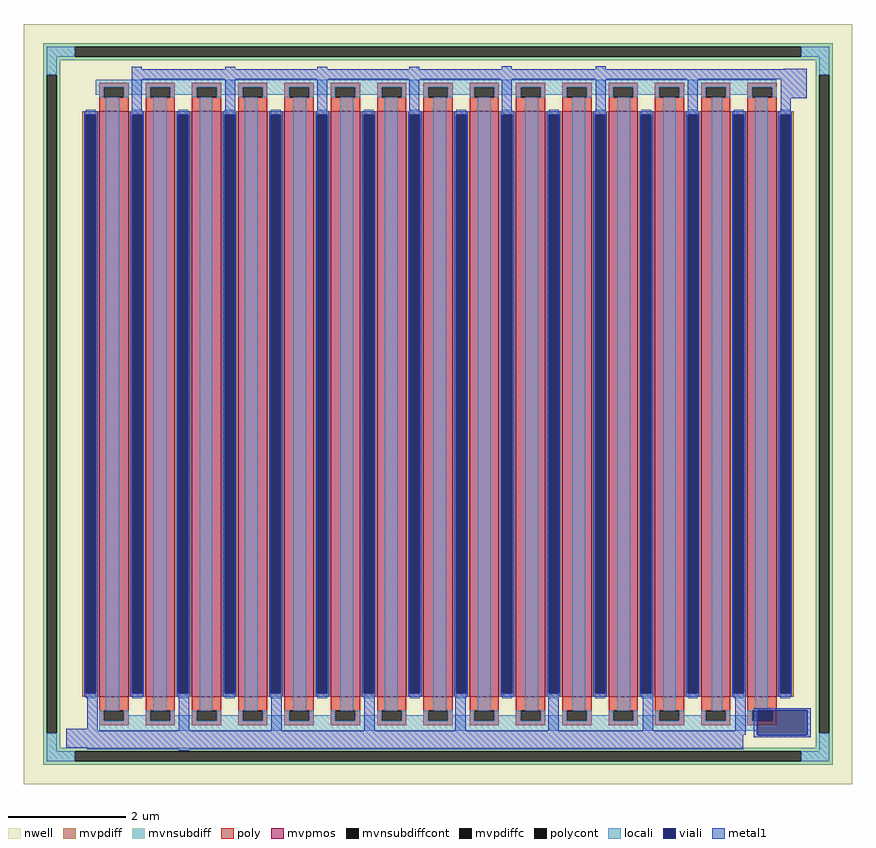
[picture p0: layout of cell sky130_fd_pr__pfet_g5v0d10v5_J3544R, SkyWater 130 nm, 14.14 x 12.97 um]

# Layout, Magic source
magic
tech sky130A
magscale 1 2
<< nwell >>
rect -1414 -1297 1414 1297
<< mvpmos >>
rect -1156 -1000 -1056 1000
rect -998 -1000 -898 1000
rect -840 -1000 -740 1000
rect -682 -1000 -582 1000
rect -524 -1000 -424 1000
rect -366 -1000 -266 1000
rect -208 -1000 -108 1000
rect -50 -1000 50 1000
rect 108 -1000 208 1000
rect 266 -1000 366 1000
rect 424 -1000 524 1000
rect 582 -1000 682 1000
rect 740 -1000 840 1000
rect 898 -1000 998 1000
rect 1056 -1000 1156 1000
<< mvpdiff >>
rect -1214 988 -1156 1000
rect -1214 -988 -1202 988
rect -1168 -988 -1156 988
rect -1214 -1000 -1156 -988
rect -1056 988 -998 1000
rect -1056 -988 -1044 988
rect -1010 -988 -998 988
rect -1056 -1000 -998 -988
rect -898 988 -840 1000
rect -898 -988 -886 988
rect -852 -988 -840 988
rect -898 -1000 -840 -988
rect -740 988 -682 1000
rect -740 -988 -728 988
rect -694 -988 -682 988
rect -740 -1000 -682 -988
rect -582 988 -524 1000
rect -582 -988 -570 988
rect -536 -988 -524 988
rect -582 -1000 -524 -988
rect -424 988 -366 1000
rect -424 -988 -412 988
rect -378 -988 -366 988
rect -424 -1000 -366 -988
rect -266 988 -208 1000
rect -266 -988 -254 988
rect -220 -988 -208 988
rect -266 -1000 -208 -988
rect -108 988 -50 1000
rect -108 -988 -96 988
rect -62 -988 -50 988
rect -108 -1000 -50 -988
rect 50 988 108 1000
rect 50 -988 62 988
rect 96 -988 108 988
rect 50 -1000 108 -988
rect 208 988 266 1000
rect 208 -988 220 988
rect 254 -988 266 988
rect 208 -1000 266 -988
rect 366 988 424 1000
rect 366 -988 378 988
rect 412 -988 424 988
rect 366 -1000 424 -988
rect 524 988 582 1000
rect 524 -988 536 988
rect 570 -988 582 988
rect 524 -1000 582 -988
rect 682 988 740 1000
rect 682 -988 694 988
rect 728 -988 740 988
rect 682 -1000 740 -988
rect 840 988 898 1000
rect 840 -988 852 988
rect 886 -988 898 988
rect 840 -1000 898 -988
rect 998 988 1056 1000
rect 998 -988 1010 988
rect 1044 -988 1056 988
rect 998 -1000 1056 -988
rect 1156 988 1214 1000
rect 1156 -988 1168 988
rect 1202 -988 1214 988
rect 1156 -1000 1214 -988
<< mvpdiffc >>
rect -1202 -988 -1168 988
rect -1044 -988 -1010 988
rect -886 -988 -852 988
rect -728 -988 -694 988
rect -570 -988 -536 988
rect -412 -988 -378 988
rect -254 -988 -220 988
rect -96 -988 -62 988
rect 62 -988 96 988
rect 220 -988 254 988
rect 378 -988 412 988
rect 536 -988 570 988
rect 694 -988 728 988
rect 852 -988 886 988
rect 1010 -988 1044 988
rect 1168 -988 1202 988
<< mvnsubdiff >>
rect -1348 1219 1348 1231
rect -1348 1185 -1240 1219
rect 1240 1185 1348 1219
rect -1348 1173 1348 1185
rect -1348 1123 -1290 1173
rect -1348 -1123 -1336 1123
rect -1302 -1123 -1290 1123
rect 1290 1123 1348 1173
rect -1348 -1173 -1290 -1123
rect 1290 -1123 1302 1123
rect 1336 -1123 1348 1123
rect 1290 -1173 1348 -1123
rect -1348 -1185 1348 -1173
rect -1348 -1219 -1240 -1185
rect 1240 -1219 1348 -1185
rect -1348 -1231 1348 -1219
<< mvnsubdiffcont >>
rect -1240 1185 1240 1219
rect -1336 -1123 -1302 1123
rect 1302 -1123 1336 1123
rect -1240 -1219 1240 -1185
<< poly >>
rect -1156 1081 -1056 1097
rect -1156 1047 -1140 1081
rect -1072 1047 -1056 1081
rect -1156 1000 -1056 1047
rect -998 1081 -898 1097
rect -998 1047 -982 1081
rect -914 1047 -898 1081
rect -998 1000 -898 1047
rect -840 1081 -740 1097
rect -840 1047 -824 1081
rect -756 1047 -740 1081
rect -840 1000 -740 1047
rect -682 1081 -582 1097
rect -682 1047 -666 1081
rect -598 1047 -582 1081
rect -682 1000 -582 1047
rect -524 1081 -424 1097
rect -524 1047 -508 1081
rect -440 1047 -424 1081
rect -524 1000 -424 1047
rect -366 1081 -266 1097
rect -366 1047 -350 1081
rect -282 1047 -266 1081
rect -366 1000 -266 1047
rect -208 1081 -108 1097
rect -208 1047 -192 1081
rect -124 1047 -108 1081
rect -208 1000 -108 1047
rect -50 1081 50 1097
rect -50 1047 -34 1081
rect 34 1047 50 1081
rect -50 1000 50 1047
rect 108 1081 208 1097
rect 108 1047 124 1081
rect 192 1047 208 1081
rect 108 1000 208 1047
rect 266 1081 366 1097
rect 266 1047 282 1081
rect 350 1047 366 1081
rect 266 1000 366 1047
rect 424 1081 524 1097
rect 424 1047 440 1081
rect 508 1047 524 1081
rect 424 1000 524 1047
rect 582 1081 682 1097
rect 582 1047 598 1081
rect 666 1047 682 1081
rect 582 1000 682 1047
rect 740 1081 840 1097
rect 740 1047 756 1081
rect 824 1047 840 1081
rect 740 1000 840 1047
rect 898 1081 998 1097
rect 898 1047 914 1081
rect 982 1047 998 1081
rect 898 1000 998 1047
rect 1056 1081 1156 1097
rect 1056 1047 1072 1081
rect 1140 1047 1156 1081
rect 1056 1000 1156 1047
rect -1156 -1047 -1056 -1000
rect -1156 -1081 -1140 -1047
rect -1072 -1081 -1056 -1047
rect -1156 -1097 -1056 -1081
rect -998 -1047 -898 -1000
rect -998 -1081 -982 -1047
rect -914 -1081 -898 -1047
rect -998 -1097 -898 -1081
rect -840 -1047 -740 -1000
rect -840 -1081 -824 -1047
rect -756 -1081 -740 -1047
rect -840 -1097 -740 -1081
rect -682 -1047 -582 -1000
rect -682 -1081 -666 -1047
rect -598 -1081 -582 -1047
rect -682 -1097 -582 -1081
rect -524 -1047 -424 -1000
rect -524 -1081 -508 -1047
rect -440 -1081 -424 -1047
rect -524 -1097 -424 -1081
rect -366 -1047 -266 -1000
rect -366 -1081 -350 -1047
rect -282 -1081 -266 -1047
rect -366 -1097 -266 -1081
rect -208 -1047 -108 -1000
rect -208 -1081 -192 -1047
rect -124 -1081 -108 -1047
rect -208 -1097 -108 -1081
rect -50 -1047 50 -1000
rect -50 -1081 -34 -1047
rect 34 -1081 50 -1047
rect -50 -1097 50 -1081
rect 108 -1047 208 -1000
rect 108 -1081 124 -1047
rect 192 -1081 208 -1047
rect 108 -1097 208 -1081
rect 266 -1047 366 -1000
rect 266 -1081 282 -1047
rect 350 -1081 366 -1047
rect 266 -1097 366 -1081
rect 424 -1047 524 -1000
rect 424 -1081 440 -1047
rect 508 -1081 524 -1047
rect 424 -1097 524 -1081
rect 582 -1047 682 -1000
rect 582 -1081 598 -1047
rect 666 -1081 682 -1047
rect 582 -1097 682 -1081
rect 740 -1047 840 -1000
rect 740 -1081 756 -1047
rect 824 -1081 840 -1047
rect 740 -1097 840 -1081
rect 898 -1047 998 -1000
rect 898 -1081 914 -1047
rect 982 -1081 998 -1047
rect 898 -1097 998 -1081
rect 1056 -1047 1156 -1000
rect 1056 -1081 1072 -1047
rect 1140 -1081 1156 -1047
rect 1056 -1097 1156 -1081
<< polycont >>
rect -1140 1047 -1072 1081
rect -982 1047 -914 1081
rect -824 1047 -756 1081
rect -666 1047 -598 1081
rect -508 1047 -440 1081
rect -350 1047 -282 1081
rect -192 1047 -124 1081
rect -34 1047 34 1081
rect 124 1047 192 1081
rect 282 1047 350 1081
rect 440 1047 508 1081
rect 598 1047 666 1081
rect 756 1047 824 1081
rect 914 1047 982 1081
rect 1072 1047 1140 1081
rect -1140 -1081 -1072 -1047
rect -982 -1081 -914 -1047
rect -824 -1081 -756 -1047
rect -666 -1081 -598 -1047
rect -508 -1081 -440 -1047
rect -350 -1081 -282 -1047
rect -192 -1081 -124 -1047
rect -34 -1081 34 -1047
rect 124 -1081 192 -1047
rect 282 -1081 350 -1047
rect 440 -1081 508 -1047
rect 598 -1081 666 -1047
rect 756 -1081 824 -1047
rect 914 -1081 982 -1047
rect 1072 -1081 1140 -1047
<< locali >>
rect -1336 1185 -1240 1219
rect 1240 1185 1336 1219
rect -1336 1123 -1302 1185
rect 1302 1123 1336 1185
rect -1168 1081 1154 1107
rect -1168 1055 -1140 1081
rect -1156 1047 -1140 1055
rect -1072 1055 -982 1081
rect -1072 1047 -1056 1055
rect -998 1047 -982 1055
rect -914 1055 -824 1081
rect -914 1047 -898 1055
rect -840 1047 -824 1055
rect -756 1055 -666 1081
rect -756 1047 -740 1055
rect -682 1047 -666 1055
rect -598 1055 -508 1081
rect -598 1047 -582 1055
rect -524 1047 -508 1055
rect -440 1055 -350 1081
rect -440 1047 -424 1055
rect -366 1047 -350 1055
rect -282 1055 -192 1081
rect -282 1047 -266 1055
rect -208 1047 -192 1055
rect -124 1055 -34 1081
rect -124 1047 -108 1055
rect -50 1047 -34 1055
rect 34 1055 124 1081
rect 34 1047 50 1055
rect 108 1047 124 1055
rect 192 1055 282 1081
rect 192 1047 208 1055
rect 266 1047 282 1055
rect 350 1055 440 1081
rect 350 1047 366 1055
rect 424 1047 440 1055
rect 508 1055 598 1081
rect 508 1047 524 1055
rect 582 1047 598 1055
rect 666 1055 756 1081
rect 666 1047 682 1055
rect 740 1047 756 1055
rect 824 1055 914 1081
rect 824 1047 840 1055
rect 898 1047 914 1055
rect 982 1055 1072 1081
rect 982 1047 998 1055
rect 1056 1047 1072 1055
rect 1140 1047 1156 1081
rect -1202 988 -1168 1004
rect -1202 -1004 -1168 -988
rect -1134 -1047 -1088 1047
rect -1044 988 -1010 1004
rect -1044 -1004 -1010 -988
rect -972 -1047 -926 1047
rect -886 988 -852 1004
rect -886 -1004 -852 -988
rect -814 -1047 -770 1047
rect -728 988 -694 1004
rect -728 -1004 -694 -988
rect -660 -1047 -616 1047
rect -570 988 -536 1004
rect -570 -1004 -536 -988
rect -494 -1047 -450 1047
rect -412 988 -378 1004
rect -412 -1004 -378 -988
rect -334 -1047 -290 1047
rect -254 988 -220 1004
rect -254 -1004 -220 -988
rect -182 -1047 -138 1047
rect -96 988 -62 1004
rect -96 -1004 -62 -988
rect -16 -1047 28 1047
rect 62 988 96 1004
rect 62 -1004 96 -988
rect 136 -1047 180 1047
rect 220 988 254 1004
rect 220 -1004 254 -988
rect 298 -1047 342 1047
rect 378 988 412 1004
rect 378 -1004 412 -988
rect 458 -1047 502 1047
rect 536 988 570 1004
rect 536 -1004 570 -988
rect 612 -1047 656 1047
rect 694 988 728 1004
rect 694 -1004 728 -988
rect 768 -1047 812 1047
rect 852 988 886 1004
rect 852 -1004 886 -988
rect 934 -1047 970 1047
rect 1010 988 1044 1004
rect 1010 -1004 1044 -988
rect 1082 -1045 1126 1047
rect 1168 988 1202 1004
rect 1168 -1004 1202 -988
rect 1082 -1047 1090 -1045
rect -1156 -1081 -1140 -1047
rect -1072 -1063 -1056 -1047
rect -998 -1063 -982 -1047
rect -1072 -1081 -982 -1063
rect -914 -1063 -898 -1047
rect -840 -1063 -824 -1047
rect -914 -1081 -824 -1063
rect -756 -1063 -740 -1047
rect -682 -1063 -666 -1047
rect -756 -1081 -666 -1063
rect -598 -1063 -582 -1047
rect -524 -1063 -508 -1047
rect -598 -1081 -508 -1063
rect -440 -1063 -424 -1047
rect -366 -1063 -350 -1047
rect -440 -1081 -350 -1063
rect -282 -1063 -266 -1047
rect -208 -1063 -192 -1047
rect -282 -1081 -192 -1063
rect -124 -1063 -108 -1047
rect -50 -1063 -34 -1047
rect -124 -1081 -34 -1063
rect 34 -1063 50 -1047
rect 108 -1063 124 -1047
rect 34 -1081 124 -1063
rect 192 -1063 208 -1047
rect 266 -1063 282 -1047
rect 192 -1081 282 -1063
rect 350 -1063 366 -1047
rect 424 -1063 440 -1047
rect 350 -1081 440 -1063
rect 508 -1063 524 -1047
rect 582 -1063 598 -1047
rect 508 -1081 598 -1063
rect 666 -1063 682 -1047
rect 740 -1063 756 -1047
rect 666 -1081 756 -1063
rect 824 -1063 840 -1047
rect 898 -1063 914 -1047
rect 824 -1081 914 -1063
rect 982 -1063 998 -1047
rect 1056 -1063 1072 -1047
rect 982 -1081 1072 -1063
rect -1156 -1115 1090 -1081
rect -1336 -1185 -1302 -1123
rect 1302 -1185 1336 -1123
rect -1336 -1219 -1240 -1185
rect 1240 -1219 1336 -1185
<< viali >>
rect -1202 -988 -1168 988
rect -1044 -988 -1010 988
rect -886 -988 -852 988
rect -728 -988 -694 988
rect -570 -988 -536 988
rect -412 -988 -378 988
rect -254 -988 -220 988
rect -96 -988 -62 988
rect 62 -988 96 988
rect 220 -988 254 988
rect 378 -988 412 988
rect 536 -988 570 988
rect 694 -988 728 988
rect 852 -988 886 988
rect 1010 -988 1044 988
rect 1168 -988 1202 988
rect 1090 -1047 1260 -1045
rect 1090 -1081 1140 -1047
rect 1140 -1081 1260 -1047
rect 1090 -1131 1260 -1081
<< metal1 >>
rect -1046 1143 -1012 1151
rect -726 1143 -692 1151
rect -412 1143 -378 1151
rect -98 1143 -64 1151
rect 218 1143 252 1153
rect 538 1143 572 1153
rect 1180 1143 1258 1145
rect -1046 1109 1258 1143
rect -1046 1000 -1012 1109
rect -726 1000 -692 1109
rect -412 1000 -378 1109
rect -98 1000 -64 1109
rect 218 1000 252 1109
rect 538 1000 572 1109
rect 852 1000 886 1109
rect 1170 1043 1258 1109
rect 1170 1000 1204 1043
rect -1208 988 -1162 1000
rect -1208 -988 -1202 988
rect -1168 -988 -1162 988
rect -1208 -1000 -1162 -988
rect -1050 988 -1004 1000
rect -1050 -988 -1044 988
rect -1010 -988 -1004 988
rect -1050 -1000 -1004 -988
rect -892 988 -846 1000
rect -892 -988 -886 988
rect -852 -988 -846 988
rect -892 -1000 -846 -988
rect -734 988 -688 1000
rect -734 -988 -728 988
rect -694 -988 -688 988
rect -734 -1000 -688 -988
rect -576 988 -530 1000
rect -576 -988 -570 988
rect -536 -988 -530 988
rect -576 -1000 -530 -988
rect -418 988 -372 1000
rect -418 -988 -412 988
rect -378 -988 -372 988
rect -418 -1000 -372 -988
rect -260 988 -214 1000
rect -260 -988 -254 988
rect -220 -988 -214 988
rect -260 -1000 -214 -988
rect -102 988 -56 1000
rect -102 -988 -96 988
rect -62 -988 -56 988
rect -102 -1000 -56 -988
rect 56 988 102 1000
rect 56 -988 62 988
rect 96 -988 102 988
rect 56 -1000 102 -988
rect 214 988 260 1000
rect 214 -988 220 988
rect 254 -988 260 988
rect 214 -1000 260 -988
rect 372 988 418 1000
rect 372 -988 378 988
rect 412 -988 418 988
rect 372 -1000 418 -988
rect 530 988 576 1000
rect 530 -988 536 988
rect 570 -988 576 988
rect 530 -1000 576 -988
rect 688 988 734 1000
rect 688 -988 694 988
rect 728 -988 734 988
rect 688 -1000 734 -988
rect 846 988 892 1000
rect 846 -988 852 988
rect 886 -988 892 988
rect 846 -1000 892 -988
rect 1004 988 1050 1000
rect 1004 -988 1010 988
rect 1044 -988 1050 988
rect 1004 -1000 1050 -988
rect 1162 988 1208 1000
rect 1162 -988 1168 988
rect 1202 -988 1208 988
rect 1162 -1000 1208 -988
rect -1198 -1109 -1162 -1000
rect -1268 -1115 -1162 -1109
rect -885 -1115 -849 -1000
rect -569 -1115 -533 -1000
rect -252 -1115 -216 -1000
rect 59 -1115 95 -1000
rect 376 -1115 412 -1000
rect 698 -1115 734 -1000
rect 1014 -1115 1050 -1000
rect -1268 -1129 1050 -1115
rect 1078 -1045 1272 -1039
rect -1268 -1173 1042 -1129
rect 1078 -1131 1090 -1045
rect 1260 -1131 1272 -1045
rect 1078 -1137 1272 -1131
rect -1198 -1179 1042 -1173
rect -885 -1183 -849 -1179
<< properties >>
string FIXED_BBOX -1319 -1202 1319 1202
string gencell sky130_fd_pr__pfet_g5v0d10v5
string library sky130
string parameters w 10 l 0.50 m 1 nf 15 diffcov 100 polycov 100 guard 1 glc 1 grc 1 gtc 1 gbc 1 tbcov 100 rlcov 100 topc 1 botc 1 poverlap 0 doverlap 1 lmin 0.50 wmin 0.42 class mosfet compatible {sky130_fd_pr__pfet_01v8  sky130_fd_pr__pfet_01v8_lvt sky130_fd_pr__pfet_01v8_hvt  sky130_fd_pr__pfet_g5v0d10v5} full_metal 1 conn_gates 0 viasrc 100 viadrn 100 viagate 100 viagb 0 viagr 0 viagl 0 viagt 0 doports 1
<< end >>
